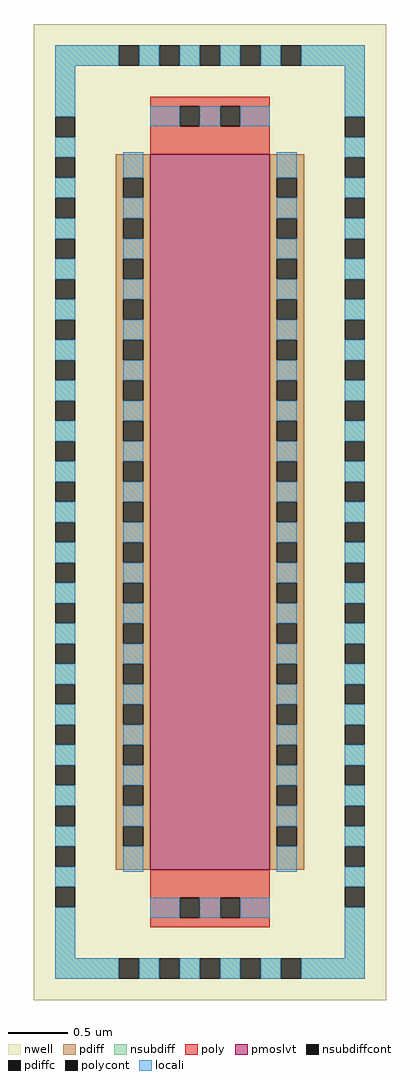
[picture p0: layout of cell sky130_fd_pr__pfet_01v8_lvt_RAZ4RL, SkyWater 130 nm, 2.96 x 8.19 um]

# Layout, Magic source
magic
tech sky130A
magscale 1 2
<< nwell >>
rect -296 -819 296 819
<< pmoslvt >>
rect -100 -600 100 600
<< pdiff >>
rect -158 561 -100 600
rect -158 527 -146 561
rect -112 527 -100 561
rect -158 493 -100 527
rect -158 459 -146 493
rect -112 459 -100 493
rect -158 425 -100 459
rect -158 391 -146 425
rect -112 391 -100 425
rect -158 357 -100 391
rect -158 323 -146 357
rect -112 323 -100 357
rect -158 289 -100 323
rect -158 255 -146 289
rect -112 255 -100 289
rect -158 221 -100 255
rect -158 187 -146 221
rect -112 187 -100 221
rect -158 153 -100 187
rect -158 119 -146 153
rect -112 119 -100 153
rect -158 85 -100 119
rect -158 51 -146 85
rect -112 51 -100 85
rect -158 17 -100 51
rect -158 -17 -146 17
rect -112 -17 -100 17
rect -158 -51 -100 -17
rect -158 -85 -146 -51
rect -112 -85 -100 -51
rect -158 -119 -100 -85
rect -158 -153 -146 -119
rect -112 -153 -100 -119
rect -158 -187 -100 -153
rect -158 -221 -146 -187
rect -112 -221 -100 -187
rect -158 -255 -100 -221
rect -158 -289 -146 -255
rect -112 -289 -100 -255
rect -158 -323 -100 -289
rect -158 -357 -146 -323
rect -112 -357 -100 -323
rect -158 -391 -100 -357
rect -158 -425 -146 -391
rect -112 -425 -100 -391
rect -158 -459 -100 -425
rect -158 -493 -146 -459
rect -112 -493 -100 -459
rect -158 -527 -100 -493
rect -158 -561 -146 -527
rect -112 -561 -100 -527
rect -158 -600 -100 -561
rect 100 561 158 600
rect 100 527 112 561
rect 146 527 158 561
rect 100 493 158 527
rect 100 459 112 493
rect 146 459 158 493
rect 100 425 158 459
rect 100 391 112 425
rect 146 391 158 425
rect 100 357 158 391
rect 100 323 112 357
rect 146 323 158 357
rect 100 289 158 323
rect 100 255 112 289
rect 146 255 158 289
rect 100 221 158 255
rect 100 187 112 221
rect 146 187 158 221
rect 100 153 158 187
rect 100 119 112 153
rect 146 119 158 153
rect 100 85 158 119
rect 100 51 112 85
rect 146 51 158 85
rect 100 17 158 51
rect 100 -17 112 17
rect 146 -17 158 17
rect 100 -51 158 -17
rect 100 -85 112 -51
rect 146 -85 158 -51
rect 100 -119 158 -85
rect 100 -153 112 -119
rect 146 -153 158 -119
rect 100 -187 158 -153
rect 100 -221 112 -187
rect 146 -221 158 -187
rect 100 -255 158 -221
rect 100 -289 112 -255
rect 146 -289 158 -255
rect 100 -323 158 -289
rect 100 -357 112 -323
rect 146 -357 158 -323
rect 100 -391 158 -357
rect 100 -425 112 -391
rect 146 -425 158 -391
rect 100 -459 158 -425
rect 100 -493 112 -459
rect 146 -493 158 -459
rect 100 -527 158 -493
rect 100 -561 112 -527
rect 146 -561 158 -527
rect 100 -600 158 -561
<< pdiffc >>
rect -146 527 -112 561
rect -146 459 -112 493
rect -146 391 -112 425
rect -146 323 -112 357
rect -146 255 -112 289
rect -146 187 -112 221
rect -146 119 -112 153
rect -146 51 -112 85
rect -146 -17 -112 17
rect -146 -85 -112 -51
rect -146 -153 -112 -119
rect -146 -221 -112 -187
rect -146 -289 -112 -255
rect -146 -357 -112 -323
rect -146 -425 -112 -391
rect -146 -493 -112 -459
rect -146 -561 -112 -527
rect 112 527 146 561
rect 112 459 146 493
rect 112 391 146 425
rect 112 323 146 357
rect 112 255 146 289
rect 112 187 146 221
rect 112 119 146 153
rect 112 51 146 85
rect 112 -17 146 17
rect 112 -85 146 -51
rect 112 -153 146 -119
rect 112 -221 146 -187
rect 112 -289 146 -255
rect 112 -357 146 -323
rect 112 -425 146 -391
rect 112 -493 146 -459
rect 112 -561 146 -527
<< nsubdiff >>
rect -260 749 -153 783
rect -119 749 -85 783
rect -51 749 -17 783
rect 17 749 51 783
rect 85 749 119 783
rect 153 749 260 783
rect -260 663 -226 749
rect -260 595 -226 629
rect 226 663 260 749
rect -260 527 -226 561
rect -260 459 -226 493
rect -260 391 -226 425
rect -260 323 -226 357
rect -260 255 -226 289
rect -260 187 -226 221
rect -260 119 -226 153
rect -260 51 -226 85
rect -260 -17 -226 17
rect -260 -85 -226 -51
rect -260 -153 -226 -119
rect -260 -221 -226 -187
rect -260 -289 -226 -255
rect -260 -357 -226 -323
rect -260 -425 -226 -391
rect -260 -493 -226 -459
rect -260 -561 -226 -527
rect -260 -629 -226 -595
rect 226 595 260 629
rect 226 527 260 561
rect 226 459 260 493
rect 226 391 260 425
rect 226 323 260 357
rect 226 255 260 289
rect 226 187 260 221
rect 226 119 260 153
rect 226 51 260 85
rect 226 -17 260 17
rect 226 -85 260 -51
rect 226 -153 260 -119
rect 226 -221 260 -187
rect 226 -289 260 -255
rect 226 -357 260 -323
rect 226 -425 260 -391
rect 226 -493 260 -459
rect 226 -561 260 -527
rect -260 -749 -226 -663
rect 226 -629 260 -595
rect 226 -749 260 -663
rect -260 -783 -153 -749
rect -119 -783 -85 -749
rect -51 -783 -17 -749
rect 17 -783 51 -749
rect 85 -783 119 -749
rect 153 -783 260 -749
<< nsubdiffcont >>
rect -153 749 -119 783
rect -85 749 -51 783
rect -17 749 17 783
rect 51 749 85 783
rect 119 749 153 783
rect -260 629 -226 663
rect 226 629 260 663
rect -260 561 -226 595
rect -260 493 -226 527
rect -260 425 -226 459
rect -260 357 -226 391
rect -260 289 -226 323
rect -260 221 -226 255
rect -260 153 -226 187
rect -260 85 -226 119
rect -260 17 -226 51
rect -260 -51 -226 -17
rect -260 -119 -226 -85
rect -260 -187 -226 -153
rect -260 -255 -226 -221
rect -260 -323 -226 -289
rect -260 -391 -226 -357
rect -260 -459 -226 -425
rect -260 -527 -226 -493
rect -260 -595 -226 -561
rect 226 561 260 595
rect 226 493 260 527
rect 226 425 260 459
rect 226 357 260 391
rect 226 289 260 323
rect 226 221 260 255
rect 226 153 260 187
rect 226 85 260 119
rect 226 17 260 51
rect 226 -51 260 -17
rect 226 -119 260 -85
rect 226 -187 260 -153
rect 226 -255 260 -221
rect 226 -323 260 -289
rect 226 -391 260 -357
rect 226 -459 260 -425
rect 226 -527 260 -493
rect 226 -595 260 -561
rect -260 -663 -226 -629
rect 226 -663 260 -629
rect -153 -783 -119 -749
rect -85 -783 -51 -749
rect -17 -783 17 -749
rect 51 -783 85 -749
rect 119 -783 153 -749
<< poly >>
rect -100 681 100 697
rect -100 647 -51 681
rect -17 647 17 681
rect 51 647 100 681
rect -100 600 100 647
rect -100 -647 100 -600
rect -100 -681 -51 -647
rect -17 -681 17 -647
rect 51 -681 100 -647
rect -100 -697 100 -681
<< polycont >>
rect -51 647 -17 681
rect 17 647 51 681
rect -51 -681 -17 -647
rect 17 -681 51 -647
<< locali >>
rect -260 749 -153 783
rect -119 749 -85 783
rect -51 749 -17 783
rect 17 749 51 783
rect 85 749 119 783
rect 153 749 260 783
rect -260 663 -226 749
rect -100 647 -51 681
rect -17 647 17 681
rect 51 647 100 681
rect 226 663 260 749
rect -260 595 -226 629
rect -260 527 -226 561
rect -260 459 -226 493
rect -260 391 -226 425
rect -260 323 -226 357
rect -260 255 -226 289
rect -260 187 -226 221
rect -260 119 -226 153
rect -260 51 -226 85
rect -260 -17 -226 17
rect -260 -85 -226 -51
rect -260 -153 -226 -119
rect -260 -221 -226 -187
rect -260 -289 -226 -255
rect -260 -357 -226 -323
rect -260 -425 -226 -391
rect -260 -493 -226 -459
rect -260 -561 -226 -527
rect -260 -629 -226 -595
rect -146 561 -112 604
rect -146 493 -112 527
rect -146 425 -112 459
rect -146 357 -112 391
rect -146 289 -112 323
rect -146 221 -112 255
rect -146 153 -112 187
rect -146 85 -112 119
rect -146 17 -112 51
rect -146 -51 -112 -17
rect -146 -119 -112 -85
rect -146 -187 -112 -153
rect -146 -255 -112 -221
rect -146 -323 -112 -289
rect -146 -391 -112 -357
rect -146 -459 -112 -425
rect -146 -527 -112 -493
rect -146 -604 -112 -561
rect 112 561 146 604
rect 112 493 146 527
rect 112 425 146 459
rect 112 357 146 391
rect 112 289 146 323
rect 112 221 146 255
rect 112 153 146 187
rect 112 85 146 119
rect 112 17 146 51
rect 112 -51 146 -17
rect 112 -119 146 -85
rect 112 -187 146 -153
rect 112 -255 146 -221
rect 112 -323 146 -289
rect 112 -391 146 -357
rect 112 -459 146 -425
rect 112 -527 146 -493
rect 112 -604 146 -561
rect 226 595 260 629
rect 226 527 260 561
rect 226 459 260 493
rect 226 391 260 425
rect 226 323 260 357
rect 226 255 260 289
rect 226 187 260 221
rect 226 119 260 153
rect 226 51 260 85
rect 226 -17 260 17
rect 226 -85 260 -51
rect 226 -153 260 -119
rect 226 -221 260 -187
rect 226 -289 260 -255
rect 226 -357 260 -323
rect 226 -425 260 -391
rect 226 -493 260 -459
rect 226 -561 260 -527
rect 226 -629 260 -595
rect -260 -749 -226 -663
rect -100 -681 -51 -647
rect -17 -681 17 -647
rect 51 -681 100 -647
rect 226 -749 260 -663
rect -260 -783 -153 -749
rect -119 -783 -85 -749
rect -51 -783 -17 -749
rect 17 -783 51 -749
rect 85 -783 119 -749
rect 153 -783 260 -749
<< properties >>
string FIXED_BBOX -243 -766 243 766
<< end >>
